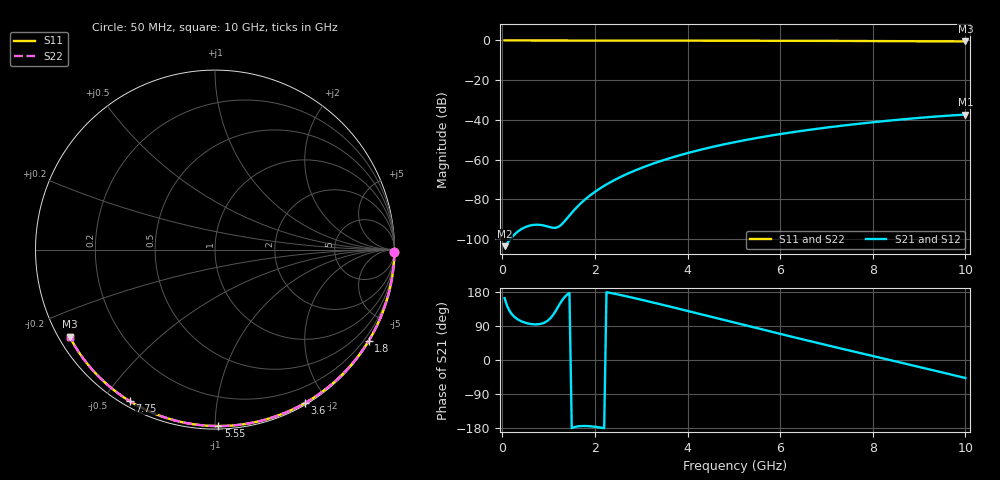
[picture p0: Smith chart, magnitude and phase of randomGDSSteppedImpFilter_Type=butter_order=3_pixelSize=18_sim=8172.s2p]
! freq	dB(S11)	phase(S11)	dB(S12)	phase(S12)
!  dB(S21)	phase(S21)	dB(S22)	phase(S22)
!S-par simulation data
#  GHz  S  DB  R 50
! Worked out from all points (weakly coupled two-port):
!   200 points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, 50 MHz to 10 GHz, reference 50 ohm
!   highest |S21| = -37.29 dB at 10 GHz (marker M1); lowest = -103.5 dB at 50 MHz (marker M2)
!   lowest |S11| = -0.5 dB at 10 GHz (marker M3), VSWR 34.88, Z = 1.54 - j13.8 ohm
!   |S11| at or under -10 dB: nowhere
!   |S22| runs from -0.5 to 0.0 dB; largest |S21 - S12| = 0
!   S11 on the Smith chart (normalised r, x): 50 MHz: open; 1.8 GHz: 0.03, -3.65; 3.6 GHz: 0.02, -1.74; 5.55 GHz: 0.02, -1.02; 7.75 GHz: 0.02, -0.59; 10 GHz: 0.03, -0.28
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0.05  -0.00 -0.8  -103.48 163.3  -103.48 163.3  -0.00 -0.9
0.45  -0.01 -7.8  -94.41 100.3  -94.41 100.3  -0.01 -7.8
0.9  -0.02 -15.5  -93.10 98.1  -93.10 98.1  -0.02 -15.5
1.75  -0.04 -29.8  -80.75 -174.1  -80.75 -174.1  -0.04 -29.8
1.8  -0.04 -30.7  -79.74 -174.2  -79.74 -174.2  -0.04 -30.7
1.95  -0.04 -33.2  -76.99 -175.5  -76.99 -175.5  -0.04 -33.2
2.1  -0.05 -35.6  -74.59 -177.9  -74.59 -177.9  -0.05 -35.6
2.25  -0.05 -38.1  -72.43 179.0  -72.43 179.0  -0.05 -38.1
2.45  -0.05 -41.4  -69.88 174.2  -69.88 174.2  -0.05 -41.4
2.65  -0.06 -44.6  -67.61 168.9  -67.61 168.9  -0.06 -44.6
2.9  -0.06 -48.7  -65.09 162.0  -65.09 162.0  -0.06 -48.7
3.4  -0.08 -56.6  -60.82 147.5  -60.82 147.5  -0.08 -56.6
3.6  -0.08 -59.8  -59.33 141.5  -59.33 141.5  -0.08 -59.8
4.3  -0.10 -70.5  -54.86 120.5  -54.86 120.5  -0.10 -70.5
5.05  -0.13 -81.7  -51.00 97.7  -51.00 97.7  -0.13 -81.7
5.55  -0.15 -88.9  -48.83 82.5  -48.83 82.5  -0.15 -88.9
6.1  -0.17 -96.7  -46.73 65.9  -46.73 65.9  -0.17 -96.7
6.7  -0.20 -105.1  -44.73 48.2  -44.73 48.2  -0.20 -105.1
7.75  -0.28 -119.3  -41.77 17.7  -41.77 17.7  -0.28 -119.3
8.35  -0.33 -127.3  -40.33 0.5  -40.33 0.5  -0.33 -127.3
9.2  -0.41 -138.5  -38.57 -24.0  -38.57 -24.0  -0.41 -138.5
10  -0.50 -149.1  -37.29 -47.5  -37.29 -47.5  -0.50 -149.1
